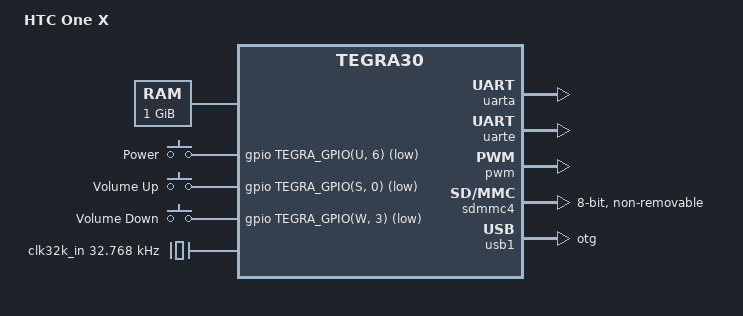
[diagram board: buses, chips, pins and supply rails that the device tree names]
// SPDX-License-Identifier: GPL-2.0-or-later
/dts-v1/;

/* This dts file describes the HTC One X smartphone */
/* CPU Speedo ID 4, Soc Speedo ID 1, CPU Process: 1, Core Process: 0 */

#include <dt-bindings/input/gpio-keys.h>
#include <dt-bindings/input/linux-event-codes.h>

#include "tegra30.dtsi"

/ {
	model = "HTC One X";
	compatible = "htc,endeavoru", "nvidia,tegra30";

	chosen {
		stdout-path = &uarta;
	};

	aliases {
		mmc0 = &sdmmc4;	/* eMMC */

		rtc1 = "/rtc@7000e000";

		usb0 = &usb1;
	};

	memory {
		device_type = "memory";
		reg = <0x80000000 0x40000000>;
	};

	uarta: serial@70006000 {
		status = "okay";
	};

	uarte: serial@70006400 {
		status = "okay";
	};

	pwm: pwm@7000a000 {
		status = "okay";
	};

	sdmmc4: sdhci@78000600 {
		status = "okay";
		bus-width = <8>;
		non-removable;
	};

	usb1: usb@7d000000 {
		status = "okay";
		dr_mode = "otg";
	};

	gpio-keys {
		compatible = "gpio-keys";

		power {
			label = "Power";
			gpios = <&gpio TEGRA_GPIO(U, 6) GPIO_ACTIVE_LOW>;
			linux,code = <KEY_ENTER>;
		};

		volume-up {
			label = "Volume Up";
			gpios = <&gpio TEGRA_GPIO(S, 0) GPIO_ACTIVE_LOW>;
			linux,code = <KEY_UP>;
		};

		volume-down {
			label = "Volume Down";
			gpios = <&gpio TEGRA_GPIO(W, 3) GPIO_ACTIVE_LOW>;
			linux,code = <KEY_DOWN>;
		};
	};

	clocks {
		compatible = "simple-bus";
		#address-cells = <1>;
		#size-cells = <0>;

		clk32k_in: clock@0 {
			compatible = "fixed-clock";
			reg = <0>;
			#clock-cells = <0>;
			clock-frequency = <32768>;
		};
	};
};
